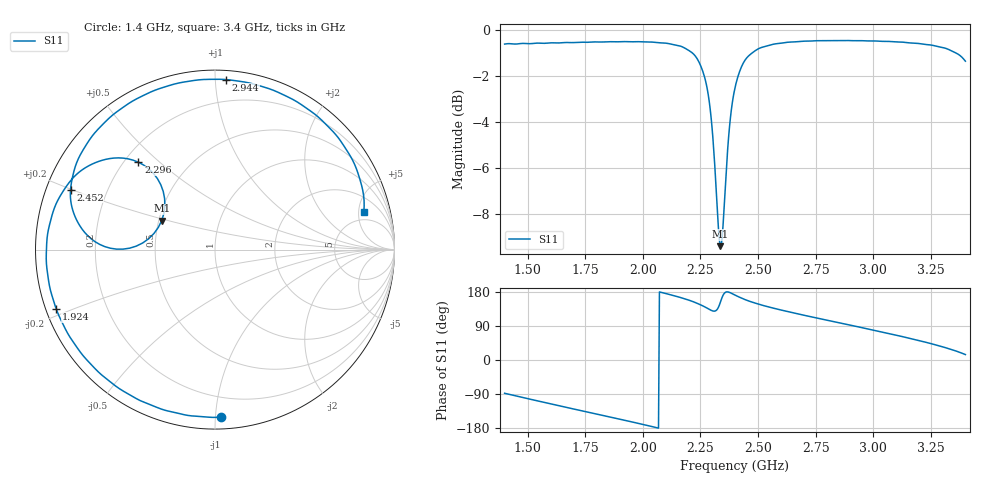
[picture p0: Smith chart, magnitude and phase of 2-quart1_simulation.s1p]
#  Hz  S  RI  R  50
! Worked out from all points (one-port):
!   501 points, 1.4 GHz to 3.4 GHz, reference 50 ohm
!   lowest |S11| = -9.4 dB at 2.336 GHz (marker M1), VSWR 2.02, Z = 25.9 + j9.45 ohm
!   |S11| at or under -10 dB: nowhere
!   S11 on the Smith chart (normalised r, x): 1.4 GHz: 0.07, -1.04; 1.924 GHz: 0.03, -0.18; 2.296 GHz: 0.26, +0.43; 2.452 GHz: 0.07, +0.20; 2.944 GHz: 0.06, +1.07; 3.4 GHz: 3.61, +5.73
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1.4e9  0.0356 -0.9322
1.532e9  -0.2643 -0.8987
1.652e9  -0.5092 -0.7895
1.788e9  -0.7347 -0.5912
1.9e9  -0.864 -0.3805
1.924e9  -0.8849 -0.33
2.044e9  -0.9401 -0.0611
2.152e9  -0.9025 0.2094
2.232e9  -0.7597 0.4292
2.272e9  -0.5875 0.507
2.296e9  -0.4264 0.4867
2.32e9  -0.2884 0.3242
2.336e9  -0.297 0.1614
2.348e9  -0.3696 0.0606
2.364e9  -0.5125 0.00254
2.384e9  -0.6679 0.0437
2.4e9  -0.7403 0.1138
2.424e9  -0.7927 0.2202
2.452e9  -0.8048 0.3348
2.536e9  -0.7239 0.5732
2.652e9  -0.5342 0.777
2.768e9  -0.3099 0.8968
2.9e9  -0.0328 0.9486
2.944e9  0.0617 0.9472
3.056e9  0.3006 0.8967
3.152e9  0.4964 0.7972
3.292e9  0.7394 0.5449
3.4e9  0.8294 0.2119
